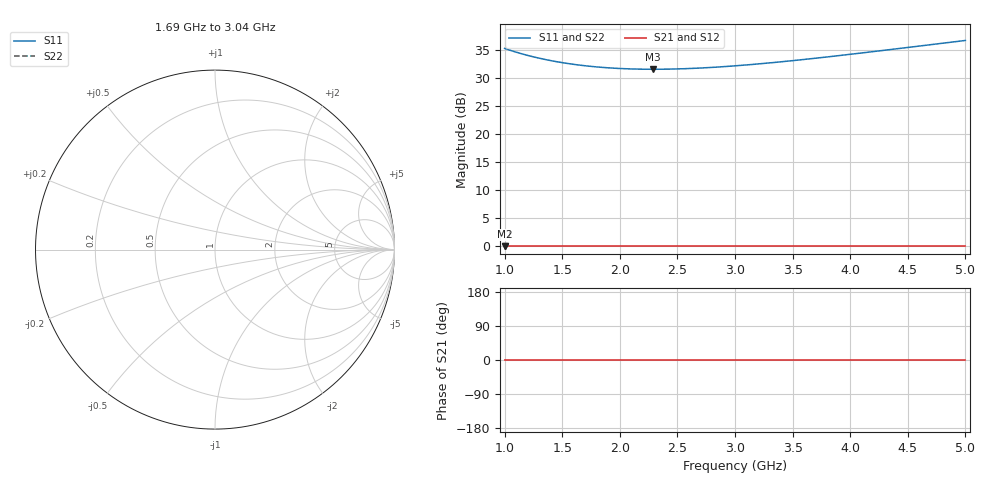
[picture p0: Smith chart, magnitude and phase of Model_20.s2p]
# GHZ S RI R 50
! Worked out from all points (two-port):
!   401 points, 1 GHz to 5 GHz, reference 50 ohm
!   highest |S21| = 0.00 dB at 1 GHz (marker M1); lowest = 0.0 dB at 1 GHz (marker M2)
!   |S21| within 3 dB of the highest: start of sweep to end of sweep
!   lowest |S11| = 31.5 dB at 2.29 GHz (marker M3)
!   |S11| at or under -10 dB: nowhere
!   |S22| runs from 31.5 to 36.6 dB; largest |S21 - S12| = 0
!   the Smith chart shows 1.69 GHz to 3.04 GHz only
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1  57.67 0  1 0  1 0  57.67 0
1.15  51.6 0  1 0  1 0  51.6 0
1.22  49.37 0  1 0  1 0  49.37 0
1.3  47.19 0  1 0  1 0  47.19 0
1.38  45.34 0  1 0  1 0  45.34 0
1.47  43.59 0  1 0  1 0  43.59 0
1.57  42 0  1 0  1 0  42 0
1.67  40.72 0  1 0  1 0  40.72 0
1.81  39.37 0  1 0  1 0  39.37 0
1.96  38.39 0  1 0  1 0  38.39 0
2.12  37.8 0  1 0  1 0  37.8 0
2.29  37.6 0  1 0  1 0  37.6 0
2.34  37.62 0  1 0  1 0  37.62 0
2.5  37.87 0  1 0  1 0  37.87 0
2.66  38.4 0  1 0  1 0  38.4 0
3  40.34 0  1 0  1 0  40.34 0
3.33  43.12 0  1 0  1 0  43.12 0
3.67  46.81 0  1 0  1 0  46.81 0
4  51.1 0  1 0  1 0  51.1 0
4.34  56.19 0  1 0  1 0  56.19 0
4.63  61.05 0  1 0  1 0  61.05 0
5  67.9 0  1 0  1 0  67.9 0
